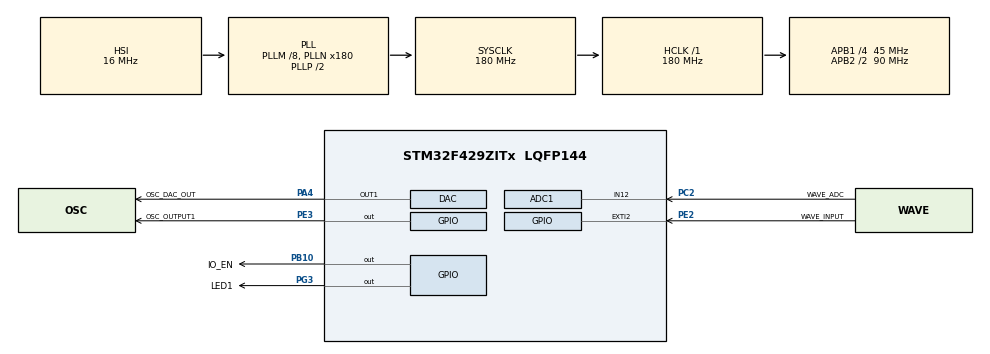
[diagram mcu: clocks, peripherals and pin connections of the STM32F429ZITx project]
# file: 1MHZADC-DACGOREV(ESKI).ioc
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ADC1.Channel-0\#ChannelRegularConversion=ADC_CHANNEL_12
ADC1.ContinuousConvMode=ENABLE
ADC1.NbrOfConversionFlag=1
ADC1.Rank-0\#ChannelRegularConversion=1
ADC1.SamplingTime-0\#ChannelRegularConversion=ADC_SAMPLETIME_3CYCLES
ADC1.master=1
Mcu.Family=STM32F4
Mcu.Name=STM32F429ZITx
Mcu.Package=LQFP144
NVIC.EXTI2_IRQn=true\:0\:0\:false\:false\:true\:true\:true\:true
NVIC.PriorityGroup=NVIC_PRIORITYGROUP_4
PA4.GPIO_Label=OSC_DAC_OUT
PA4.Signal=COMP_DAC1_group
PB10.GPIO_Label=IO_EN
PB10.Signal=GPIO_Output
PC2.GPIO_Label=WAVE_ADC
PC2.Signal=ADCx_IN12
PE2.GPIO_Label=WAVE_INPUT
PE2.GPIO_ModeDefaultEXTI=GPIO_MODE_IT_RISING_FALLING
PE2.Signal=GPXTI2
PE3.GPIO_Label=OSC_OUTPUT1
PE3.Signal=GPIO_Output
PG3.GPIO_Label=LED1
PG3.Signal=GPIO_Output
ProjectManager.HeapSize=0x200
ProjectManager.StackSize=0x400
ProjectManager.TargetToolchain=STM32CubeIDE
RCC.48MHZClocksFreq_Value=90000000
RCC.AHBFreq_Value=180000000
RCC.APB1CLKDivider=RCC_HCLK_DIV4
RCC.APB1Freq_Value=45000000
RCC.APB1TimFreq_Value=90000000
RCC.APB2CLKDivider=RCC_HCLK_DIV2
RCC.APB2Freq_Value=90000000
RCC.APB2TimFreq_Value=180000000
RCC.CortexFreq_Value=180000000
RCC.HCLKFreq_Value=180000000
RCC.HSE_VALUE=25000000
RCC.HSI_VALUE=16000000
RCC.LSE_VALUE=32768
RCC.PLLM=8
RCC.PLLN=180
RCC.SYSCLKFreq_VALUE=180000000
RCC.SYSCLKSource=RCC_SYSCLKSOURCE_PLLCLK
RCC.VCOOutputFreq_Value=360000000
SH.ADCx_IN12.0=ADC1_IN12,IN12
SH.COMP_DAC1_group.0=DAC_OUT1,DAC_OUT1
board=custom

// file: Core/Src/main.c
/* USER CODE BEGIN Header */
/**
  ******************************************************************************
  * @file           : main.c
  * @brief          : Main program body
  ******************************************************************************
  * @attention
  *
  * Copyright (c) 2026 STMicroelectronics.
  * All rights reserved.
  *
  * This software is licensed under terms that can be found in the LICENSE file
  * in the root directory of this software component.
  * If no LICENSE file comes with this software, it is provided AS-IS.
  *
  ******************************************************************************
  */
/* USER CODE END Header */
#include "main.h"

ADC_HandleTypeDef hadc1;

DAC_HandleTypeDef hdac;

/* USER CODE BEGIN PV */
uint16_t ADCVAL = 0;
/* USER CODE END PV */

void SystemClock_Config(void);
static void MX_GPIO_Init(void);
static void MX_ADC1_Init(void);
static void MX_DAC_Init(void);

int main(void)
{

  /* MCU Configuration--------------------------------------------------------*/

  /* Reset of all peripherals, Initializes the Flash interface and the Systick. */
  HAL_Init();

  /* Configure the system clock */
  SystemClock_Config();

  /* Initialize all configured peripherals */
  MX_GPIO_Init();
  MX_ADC1_Init();
  MX_DAC_Init();
  /* USER CODE BEGIN 2 */

    // 3. ADIM: DAC Donanımını başlat
    //HAL_StatusTypeDef DACStart = HAL_DAC_Start(&hdac, DAC_CHANNEL_1);
    HAL_StatusTypeDef ADCStart = HAL_ADC_Start(&hadc1);
    HAL_GPIO_WritePin(IO_EN_GPIO_Port, IO_EN_Pin, 0);

  /* USER CODE END 2 */

  /* Infinite loop */
  while (1)
  {

    /* USER CODE BEGIN 3 */
	  ADCStart = HAL_ADC_Start(&hadc1);
	  if(HAL_GPIO_ReadPin(WAVE_INPUT_GPIO_Port, WAVE_INPUT_Pin) == GPIO_PIN_SET){
		  HAL_GPIO_WritePin(OSC_OUTPUT1_GPIO_Port, OSC_OUTPUT1_Pin, GPIO_PIN_SET);
			if((ADCStart == HAL_OK)){
				if(HAL_ADC_PollForConversion(&hadc1, 10) == HAL_OK){
					HAL_GPIO_TogglePin(LED1_GPIO_Port, LED1_Pin);
					ADCVAL = HAL_ADC_GetValue(&hadc1);
				}
				else{
					//ERROR_LED();
				}
			}
			else{
				//ERROR_LED();
			}
	  }
	  else{
		  //ERROR_LED();
		  HAL_GPIO_WritePin(OSC_OUTPUT1_GPIO_Port, OSC_OUTPUT1_Pin, GPIO_PIN_RESET);
	  }
  }
  /* USER CODE END 3 */
}

void SystemClock_Config(void)
{
  RCC_OscInitTypeDef RCC_OscInitStruct = {0};
  RCC_ClkInitTypeDef RCC_ClkInitStruct = {0};

  /** Configure the main internal regulator output voltage
  */
  __HAL_RCC_PWR_CLK_ENABLE();
  __HAL_PWR_VOLTAGESCALING_CONFIG(PWR_REGULATOR_VOLTAGE_SCALE1);

  /** Initializes the RCC Oscillators according to the specified parameters
  * in the RCC_OscInitTypeDef structure.
  */
  RCC_OscInitStruct.OscillatorType = RCC_OSCILLATORTYPE_HSI;
  RCC_OscInitStruct.HSIState = RCC_HSI_ON;
  RCC_OscInitStruct.HSICalibrationValue = RCC_HSICALIBRATION_DEFAULT;
  RCC_OscInitStruct.PLL.PLLState = RCC_PLL_ON;
  RCC_OscInitStruct.PLL.PLLSource = RCC_PLLSOURCE_HSI;
  RCC_OscInitStruct.PLL.PLLM = 8;
  RCC_OscInitStruct.PLL.PLLN = 180;
  RCC_OscInitStruct.PLL.PLLP = RCC_PLLP_DIV2;
  RCC_OscInitStruct.PLL.PLLQ = 4;
  if (HAL_RCC_OscConfig(&RCC_OscInitStruct) != HAL_OK)
  {
    Error_Handler();
  }

  /** Activate the Over-Drive mode
  */
  if (HAL_PWREx_EnableOverDrive() != HAL_OK)
  {
    Error_Handler();
  }

  /** Initializes the CPU, AHB and APB buses clocks
  */
  RCC_ClkInitStruct.ClockType = RCC_CLOCKTYPE_HCLK|RCC_CLOCKTYPE_SYSCLK
                              |RCC_CLOCKTYPE_PCLK1|RCC_CLOCKTYPE_PCLK2;
  RCC_ClkInitStruct.SYSCLKSource = RCC_SYSCLKSOURCE_PLLCLK;
  RCC_ClkInitStruct.AHBCLKDivider = RCC_SYSCLK_DIV1;
  RCC_ClkInitStruct.APB1CLKDivider = RCC_HCLK_DIV4;
  RCC_ClkInitStruct.APB2CLKDivider = RCC_HCLK_DIV2;

  if (HAL_RCC_ClockConfig(&RCC_ClkInitStruct, FLASH_LATENCY_5) != HAL_OK)
  {
    Error_Handler();
  }
}

static void MX_ADC1_Init(void)
{

  ADC_ChannelConfTypeDef sConfig = {0};

  /** Configure the global features of the ADC (Clock, Resolution, Data Alignment and number of conversion)
  */
  hadc1.Instance = ADC1;
  hadc1.Init.ClockPrescaler = ADC_CLOCK_SYNC_PCLK_DIV4;
  hadc1.Init.Resolution = ADC_RESOLUTION_12B;
  hadc1.Init.ScanConvMode = DISABLE;
  hadc1.Init.ContinuousConvMode = ENABLE;
  hadc1.Init.DiscontinuousConvMode = DISABLE;
  hadc1.Init.ExternalTrigConvEdge = ADC_EXTERNALTRIGCONVEDGE_NONE;
  hadc1.Init.ExternalTrigConv = ADC_SOFTWARE_START;
  hadc1.Init.DataAlign = ADC_DATAALIGN_RIGHT;
  hadc1.Init.NbrOfConversion = 1;
  hadc1.Init.DMAContinuousRequests = DISABLE;
  hadc1.Init.EOCSelection = ADC_EOC_SINGLE_CONV;
  if (HAL_ADC_Init(&hadc1) != HAL_OK)
  {
    Error_Handler();
  }

  /** Configure for the selected ADC regular channel its corresponding rank in the sequencer and its sample time.
  */
  sConfig.Channel = ADC_CHANNEL_12;
  sConfig.Rank = 1;
  sConfig.SamplingTime = ADC_SAMPLETIME_3CYCLES;
  if (HAL_ADC_ConfigChannel(&hadc1, &sConfig) != HAL_OK)
  {
    Error_Handler();
  }

}

static void MX_DAC_Init(void)
{

  DAC_ChannelConfTypeDef sConfig = {0};

  /** DAC Initialization
  */
  hdac.Instance = DAC;
  if (HAL_DAC_Init(&hdac) != HAL_OK)
  {
    Error_Handler();
  }

  /** DAC channel OUT1 config
  */
  sConfig.DAC_Trigger = DAC_TRIGGER_NONE;
  sConfig.DAC_OutputBuffer = DAC_OUTPUTBUFFER_ENABLE;
  if (HAL_DAC_ConfigChannel(&hdac, &sConfig, DAC_CHANNEL_1) != HAL_OK)
  {
    Error_Handler();
  }

}

static void MX_GPIO_Init(void)
{
  GPIO_InitTypeDef GPIO_InitStruct = {0};

  /* GPIO Ports Clock Enable */
  __HAL_RCC_GPIOE_CLK_ENABLE();
  __HAL_RCC_GPIOC_CLK_ENABLE();
  __HAL_RCC_GPIOA_CLK_ENABLE();
  __HAL_RCC_GPIOB_CLK_ENABLE();
  __HAL_RCC_GPIOG_CLK_ENABLE();

  /*Configure GPIO pin Output Level */
  HAL_GPIO_WritePin(OSC_OUTPUT1_GPIO_Port, OSC_OUTPUT1_Pin, GPIO_PIN_RESET);

  /*Configure GPIO pin Output Level */
  HAL_GPIO_WritePin(IO_EN_GPIO_Port, IO_EN_Pin, GPIO_PIN_RESET);

  /*Configure GPIO pin Output Level */
  HAL_GPIO_WritePin(LED1_GPIO_Port, LED1_Pin, GPIO_PIN_RESET);

  /*Configure GPIO pin : WAVE_INPUT_Pin */
  GPIO_InitStruct.Pin = WAVE_INPUT_Pin;
  GPIO_InitStruct.Mode = GPIO_MODE_IT_RISING_FALLING;
  GPIO_InitStruct.Pull = GPIO_NOPULL;
  HAL_GPIO_Init(WAVE_INPUT_GPIO_Port, &GPIO_InitStruct);

  /*Configure GPIO pin : OSC_OUTPUT1_Pin */
  GPIO_InitStruct.Pin = OSC_OUTPUT1_Pin;
  GPIO_InitStruct.Mode = GPIO_MODE_OUTPUT_PP;
  GPIO_InitStruct.Pull = GPIO_NOPULL;
  GPIO_InitStruct.Speed = GPIO_SPEED_FREQ_LOW;
  HAL_GPIO_Init(OSC_OUTPUT1_GPIO_Port, &GPIO_InitStruct);

  /*Configure GPIO pin : IO_EN_Pin */
  GPIO_InitStruct.Pin = IO_EN_Pin;
  GPIO_InitStruct.Mode = GPIO_MODE_OUTPUT_PP;
  GPIO_InitStruct.Pull = GPIO_NOPULL;
  GPIO_InitStruct.Speed = GPIO_SPEED_FREQ_LOW;
  HAL_GPIO_Init(IO_EN_GPIO_Port, &GPIO_InitStruct);

  /*Configure GPIO pin : LED1_Pin */
  GPIO_InitStruct.Pin = LED1_Pin;
  GPIO_InitStruct.Mode = GPIO_MODE_OUTPUT_PP;
  GPIO_InitStruct.Pull = GPIO_NOPULL;
  GPIO_InitStruct.Speed = GPIO_SPEED_FREQ_LOW;
  HAL_GPIO_Init(LED1_GPIO_Port, &GPIO_InitStruct);

  /* EXTI interrupt init*/
  HAL_NVIC_SetPriority(EXTI2_IRQn, 0, 0);
  HAL_NVIC_EnableIRQ(EXTI2_IRQn);

}

/* USER CODE BEGIN 4 */
void ERROR_LED(){

}
/* USER CODE END 4 */

void Error_Handler(void)
{
  __disable_irq();
  while (1)
  {
  }
}
